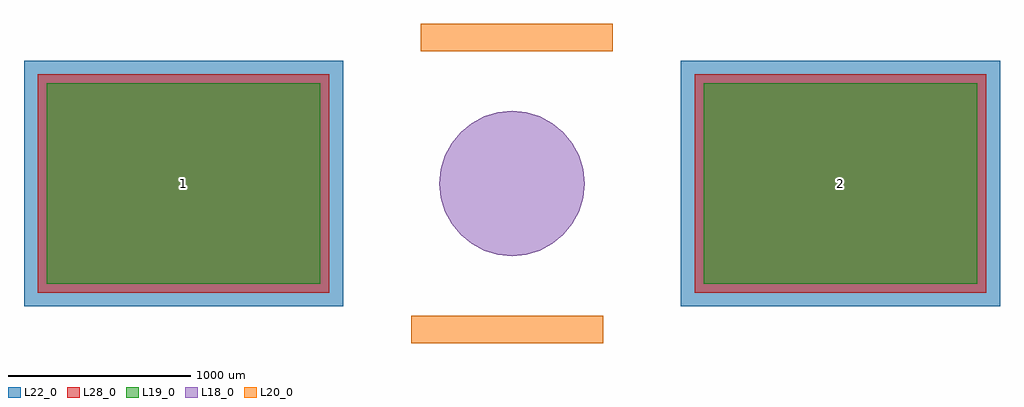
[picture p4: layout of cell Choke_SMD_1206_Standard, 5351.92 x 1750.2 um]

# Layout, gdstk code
import gdstk
lib = gdstk.Library(unit=1e-6, precision=1e-09)
def R(c, l, rs):  # rectangles x0, y0, x1, y1
    for r in rs: c.add(gdstk.rectangle(r[:2], r[2:], *l))
def P(c, l, *ps):  # polygons
    for p in ps: c.add(gdstk.Polygon(p, *l))
L18_0 = (18, 0)
L19_0 = (19, 0)
L20_0 = (20, 0)
L22_0 = (22, 0)
L28_0 = (28, 0)

choke_smd_1206_standard = lib.new_cell('Choke_SMD_1206_Standard')
P(choke_smd_1206_standard, L18_0, [(206.99,0),(203.013,40.382),(191.234,79.212),(172.106,114.997),(146.364,146.364),(114.997,172.106),(79.212,191.234),(40.382,203.013),(0,206.99),(-40.382,203.013),(-79.212,191.234),(-114.997,172.106),(-146.364,146.364),(-172.106,114.997),(-191.234,79.212),(-203.013,40.382),(-206.99,0),(-203.013,-40.382),(-191.234,-79.212),(-172.106,-114.997),(-146.364,-146.364),(-114.997,-172.106),(-79.212,-191.234),(-40.382,-203.013),(0,-206.99),(40.382,-203.013),(79.212,-191.234),(114.997,-172.106),(146.364,-146.364),(172.106,-114.997),(191.234,-79.212),(203.013,-40.382)],
  [(398.78,0),(391.118,77.798),(368.425,152.606),(331.573,221.55),(281.98,281.98),(221.55,331.573),(152.606,368.425),(77.798,391.118),(0,398.78),(-77.798,391.118),(-152.606,368.425),(-221.55,331.573),(-281.98,281.98),(-331.573,221.55),(-368.425,152.606),(-391.118,77.798),(-398.78,0),(-391.118,-77.798),(-368.425,-152.606),(-331.573,-221.55),(-281.98,-281.98),(-221.55,-331.573),(-152.606,-368.425),(-77.798,-391.118),(0,-398.78),(77.798,-391.118),(152.606,-368.425),(221.55,-331.573),(281.98,-281.98),(331.573,-221.55),(368.425,-152.606),(391.118,-77.798)])
R(choke_smd_1206_standard, L19_0, [(-2550.96,-549.44,-1050.76,549.44), (1050.76,-549.44,2550.96,549.44)])
R(choke_smd_1206_standard, L22_0, [(-2675.96,-674.44,-925.76,674.44), (925.76,-674.44,2675.96,674.44)])
R(choke_smd_1206_standard, L28_0, [(-2600.96,-599.44,-1000.76,599.44), (1000.76,-599.44,2600.96,599.44)])
choke_smd_1206_standard.add(gdstk.FlexPath([(551.18,800.1),(-500.38,800.1)], 149.998, ends="flush", simple_path=True, layer=20, datatype=0))  # L20_0
choke_smd_1206_standard.add(gdstk.FlexPath([(-551.18,-800.1),(500.38,-800.1)], 149.998, ends="flush", simple_path=True, layer=20, datatype=0))  # L20_0
choke_smd_1206_standard.add(gdstk.Label('2', (1800.86,0), layer=28, texttype=0))
choke_smd_1206_standard.add(gdstk.Label('1', (-1800.86,0), layer=28, texttype=0))
choke_smd_1206_standard.add(gdstk.Label('type', (0,-2540), layer=9, texttype=0))
choke_smd_1206_standard.add(gdstk.Label('devicename', (0,2540), layer=9, texttype=0))

lib.write_gds('Choke_SMD_1206_Standard.gds')
